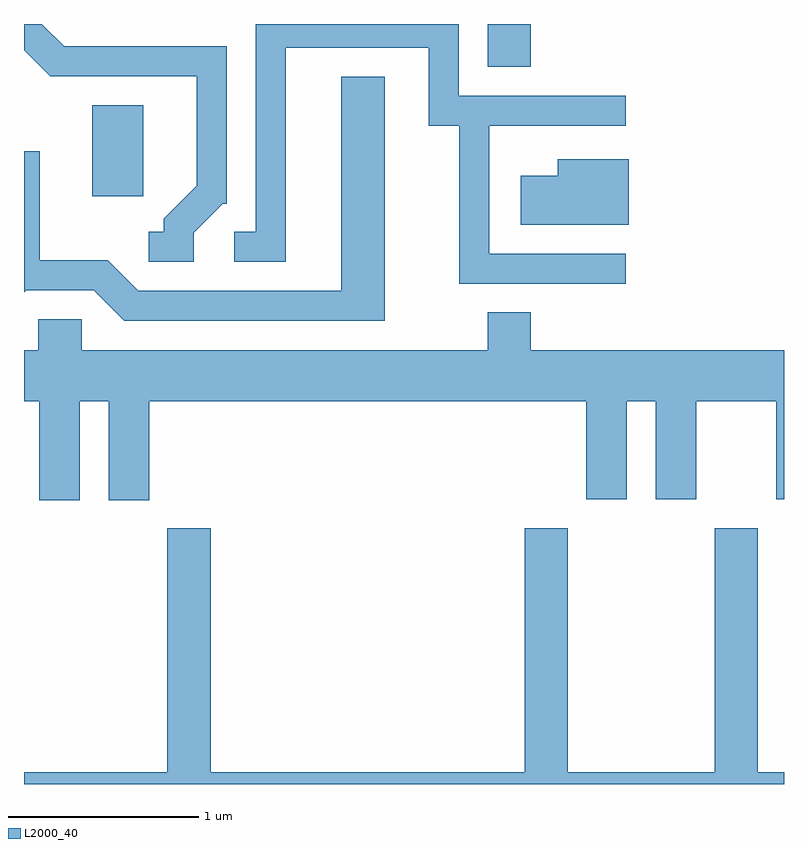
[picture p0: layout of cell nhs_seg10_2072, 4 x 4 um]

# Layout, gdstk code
import gdstk
lib = gdstk.Library(unit=1e-6, precision=1e-09)
def R(c, l, rs):  # rectangles x0, y0, x1, y1
    for r in rs: c.add(gdstk.rectangle(r[:2], r[2:], *l))
def P(c, l, *ps):  # polygons
    for p in ps: c.add(gdstk.Polygon(p, *l))
L2000_40 = (2000, 40)

nhs_seg10_2072 = lib.new_cell('nhs_seg10_2072')
R(nhs_seg10_2072, L2000_40, [(245.971,2161.616,246.239,2162.094), (248.051,2162.296,248.279,2162.522)])
P(nhs_seg10_2072, L2000_40, [(246.504,2161.424),(246.657,2161.576),(246.679,2161.576),(246.679,2162.404),(245.822,2162.404),(245.704,2162.522),(245.611,2162.522),(245.611,2162.384),(245.749,2162.246),(246.521,2162.246),(246.521,2161.672),(246.346,2161.497),(246.346,2161.429),(246.268,2161.429),(246.268,2161.271),(246.504,2161.271)],
  [(248.778,2161.314),(248.059,2161.314),(248.059,2161.986),(248.778,2161.986),(248.778,2162.144),(247.899,2162.144),(247.899,2162.522),(246.831,2162.522),(246.831,2161.429),(246.718,2161.429),(246.718,2161.271),(246.989,2161.271),(246.989,2162.396),(247.741,2162.396),(247.741,2161.986),(247.901,2161.986),(247.901,2161.156),(248.778,2161.156)],
  [(247.509,2162.244),(247.281,2162.244),(247.281,2161.119),(246.212,2161.119),(246.052,2161.279),(245.694,2161.279),(245.694,2161.853),(245.611,2161.853),(245.611,2161.11),(245.622,2161.121),(245.979,2161.121),(246.139,2160.961),(247.509,2160.961)],
  [(248.794,2161.809),(248.421,2161.809),(248.421,2161.724),(248.226,2161.724),(248.226,2161.466),(248.794,2161.466)],
  [(245.904,2160.536),(246.056,2160.536),(246.056,2160.016),(246.269,2160.016),(246.269,2160.536),(248.571,2160.536),(248.571,2160.021),(248.784,2160.021),(248.784,2160.536),(248.936,2160.536),(248.936,2160.021),(249.149,2160.021),(249.149,2160.536),(249.571,2160.536),(249.571,2160.021),(249.611,2160.021),(249.611,2160.804),(248.279,2160.804),(248.279,2161.004),(248.051,2161.004),(248.051,2160.804),(245.914,2160.804),(245.914,2160.969),(245.686,2160.969),(245.686,2160.804),(245.611,2160.804),(245.611,2160.536),(245.691,2160.536),(245.691,2160.016),(245.904,2160.016)],
  [(249.611,2158.584),(249.474,2158.584),(249.474,2159.869),(249.246,2159.869),(249.246,2158.584),(248.474,2158.584),(248.474,2159.869),(248.246,2159.869),(248.246,2158.584),(246.594,2158.584),(246.594,2159.869),(246.366,2159.869),(246.366,2158.584),(245.611,2158.584),(245.611,2158.522),(249.611,2158.522)])

lib.write_gds('nhs_seg10_2072.gds')
